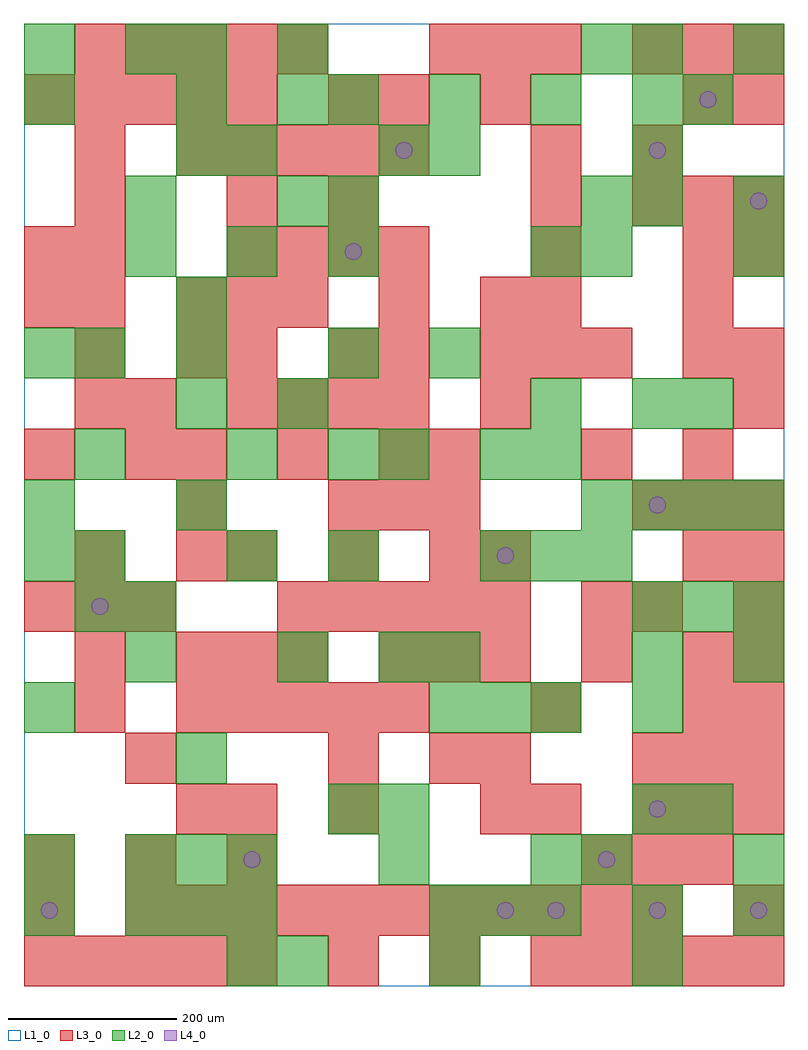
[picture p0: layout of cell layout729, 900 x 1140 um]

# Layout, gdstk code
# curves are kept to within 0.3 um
import gdstk
lib = gdstk.Library(unit=1e-6, precision=1e-09)
def R(c, l, rs):  # rectangles x0, y0, x1, y1
    for r in rs: c.add(gdstk.rectangle(r[:2], r[2:], *l))
def A(c, l, x, y, w, h, nx, ny, dx, dy):  # array of equal rectangles
    R(c, l, [(x+i*dx, y+j*dy, x+i*dx+w, y+j*dy+h) for i in range(nx) for j in range(ny)])
def P(c, l, *ps):  # polygons
    for p in ps: c.add(gdstk.Polygon(p, *l))
L1_0 = (1, 0)
L2_0 = (2, 0)
L3_0 = (3, 0)
L4_0 = (4, 0)

layout729 = lib.new_cell('layout729')
R(layout729, L1_0, [(0,0,900,1140)])
A(layout729, L2_0, 480, 0, 60, 60, 1, 3, 0, 360)
A(layout729, L2_0, 120, 60, 60, 60, 3, 2, 60, 60)
A(layout729, L2_0, 480, 60, 60, 60, 3, 2, 60, 240)
A(layout729, L2_0, 720, 60, 60, 60, 1, 3, 0, 120)
A(layout729, L2_0, 0, 120, 60, 60, 1, 3, 0, 180)
A(layout729, L2_0, 720, 420, 60, 60, 3, 1, 60, 0)
A(layout729, L2_0, 60, 480, 60, 60, 1, 3, 0, 120)
A(layout729, L2_0, 360, 480, 60, 60, 1, 3, 0, 120)
A(layout729, L2_0, 540, 480, 60, 60, 3, 1, 60, 0)
A(layout729, L2_0, 660, 540, 60, 60, 4, 1, 60, 0)
A(layout729, L2_0, 180, 660, 60, 60, 1, 3, 0, 60)
A(layout729, L2_0, 120, 840, 60, 60, 3, 1, 120, 0)
A(layout729, L2_0, 180, 960, 60, 60, 1, 3, 0, 60)
A(layout729, L2_0, 360, 1020, 60, 60, 4, 1, 120, 0)
R(layout729, L2_0, [(240,0,300,60), (300,0,360,60), (720,0,780,60), (0,60,60,120), (840,60,900,120), (420,120,480,180), (600,120,660,180), (660,120,720,180), (840,120,900,180), (360,180,420,240), (420,180,480,240), (780,180,840,240), (180,240,240,300), (120,360,180,420), (300,360,360,420), (420,360,480,420), (720,360,780,420), (840,360,900,420), (60,420,120,480), (120,420,180,480), (240,480,300,540), (0,540,60,600), (180,540,240,600), (240,600,300,660), (420,600,480,660), (540,600,600,660), (600,600,660,660), (300,660,360,720), (600,660,660,720), (720,660,780,720), (780,660,840,720), (0,720,60,780), (600,840,660,900), (660,840,720,900), (840,840,900,900), (120,900,180,960), (300,900,360,960), (360,900,420,960), (660,900,720,960), (720,900,780,960), (840,900,900,960), (240,960,300,1020), (420,960,480,1020), (480,960,540,1020), (720,960,780,1020), (0,1020,60,1080), (300,1020,360,1080), (780,1020,840,1080), (0,1080,60,1140), (120,1080,180,1140), (300,1080,360,1140), (660,1080,720,1140), (720,1080,780,1140), (840,1080,900,1140)])
A(layout729, L3_0, 0, 0, 60, 60, 5, 2, 60, 1020)
A(layout729, L3_0, 360, 0, 60, 60, 3, 1, 120, 0)
A(layout729, L3_0, 660, 0, 60, 60, 4, 1, 60, 0)
A(layout729, L3_0, 120, 60, 60, 60, 11, 1, 60, 0)
A(layout729, L3_0, 0, 120, 60, 60, 3, 1, 120, 0)
A(layout729, L3_0, 660, 120, 60, 60, 3, 1, 60, 0)
A(layout729, L3_0, 720, 180, 60, 60, 3, 2, 60, 60)
A(layout729, L3_0, 180, 300, 60, 60, 5, 2, 60, 660)
A(layout729, L3_0, 840, 300, 60, 60, 1, 4, 0, 60)
A(layout729, L3_0, 180, 360, 60, 60, 3, 2, 60, 420)
A(layout729, L3_0, 420, 360, 60, 60, 3, 1, 60, 0)
A(layout729, L3_0, 780, 360, 60, 60, 1, 4, 0, 120)
A(layout729, L3_0, 0, 420, 60, 60, 3, 1, 60, 0)
A(layout729, L3_0, 300, 420, 60, 60, 5, 1, 60, 0)
A(layout729, L3_0, 240, 480, 60, 60, 3, 1, 120, 0)
A(layout729, L3_0, 360, 540, 60, 60, 3, 1, 60, 0)
A(layout729, L3_0, 720, 540, 60, 60, 3, 2, 60, 360)
A(layout729, L3_0, 180, 600, 60, 60, 3, 1, 120, 0)
A(layout729, L3_0, 60, 660, 60, 60, 1, 6, 0, 60)
A(layout729, L3_0, 240, 660, 60, 60, 4, 2, 60, 180)
A(layout729, L3_0, 540, 720, 60, 60, 3, 1, 60, 0)
A(layout729, L3_0, 600, 780, 60, 60, 1, 4, 0, 60)
A(layout729, L3_0, 60, 1080, 60, 60, 5, 1, 60, 0)
A(layout729, L3_0, 480, 1080, 60, 60, 3, 1, 60, 0)
A(layout729, L3_0, 720, 1080, 60, 60, 3, 1, 60, 0)
R(layout729, L3_0, [(0,60,60,120), (840,60,900,120), (180,180,240,240), (240,180,300,240), (360,180,420,240), (540,180,600,240), (600,180,660,240), (120,240,180,300), (360,240,420,300), (480,240,540,300), (540,240,600,300), (60,300,120,360), (600,300,660,360), (780,300,840,360), (60,360,120,420), (660,360,720,420), (660,420,720,480), (720,420,780,480), (60,480,120,540), (180,480,240,540), (540,480,600,540), (180,540,240,600), (0,600,60,660), (120,600,180,660), (480,600,540,660), (660,600,720,660), (120,660,180,720), (540,660,600,720), (840,660,900,720), (180,720,240,780), (240,720,300,780), (360,720,420,780), (420,720,480,780), (840,720,900,780), (0,780,60,840), (420,780,480,840), (540,780,600,840), (780,780,840,840), (0,840,60,900), (780,840,840,900), (840,840,900,900), (240,900,300,960), (360,900,420,960), (720,960,780,1020), (360,1020,420,1080), (420,1020,480,1080), (540,1020,600,1080), (780,1020,840,1080), (840,1020,900,1080)])
P(layout729, L4_0, [(40,90),(39.239,93.827),(37.071,97.071),(33.827,99.239),(30,100),(26.173,99.239),(22.929,97.071),(20.761,93.827),(20,90),(20.761,86.173),(22.929,82.929),(26.173,80.761),(30,80),(33.827,80.761),(37.071,82.929),(39.239,86.173)],
  [(100,450),(99.239,453.827),(97.071,457.071),(93.827,459.239),(90,460),(86.173,459.239),(82.929,457.071),(80.761,453.827),(80,450),(80.761,446.173),(82.929,442.929),(86.173,440.761),(90,440),(93.827,440.761),(97.071,442.929),(99.239,446.173)],
  [(280,150),(279.239,153.827),(277.071,157.071),(273.827,159.239),(270,160),(266.173,159.239),(262.929,157.071),(260.761,153.827),(260,150),(260.761,146.173),(262.929,142.929),(266.173,140.761),(270,140),(273.827,140.761),(277.071,142.929),(279.239,146.173)],
  [(400,870),(399.239,873.827),(397.071,877.071),(393.827,879.239),(390,880),(386.173,879.239),(382.929,877.071),(380.761,873.827),(380,870),(380.761,866.173),(382.929,862.929),(386.173,860.761),(390,860),(393.827,860.761),(397.071,862.929),(399.239,866.173)],
  [(460,990),(459.239,993.827),(457.071,997.071),(453.827,999.239),(450,1000),(446.173,999.239),(442.929,997.071),(440.761,993.827),(440,990),(440.761,986.173),(442.929,982.929),(446.173,980.761),(450,980),(453.827,980.761),(457.071,982.929),(459.239,986.173)],
  [(580,90),(579.239,93.827),(577.071,97.071),(573.827,99.239),(570,100),(566.173,99.239),(562.929,97.071),(560.761,93.827),(560,90),(560.761,86.173),(562.929,82.929),(566.173,80.761),(570,80),(573.827,80.761),(577.071,82.929),(579.239,86.173)],
  [(580,510),(579.239,513.827),(577.071,517.071),(573.827,519.239),(570,520),(566.173,519.239),(562.929,517.071),(560.761,513.827),(560,510),(560.761,506.173),(562.929,502.929),(566.173,500.761),(570,500),(573.827,500.761),(577.071,502.929),(579.239,506.173)],
  [(640,90),(639.239,93.827),(637.071,97.071),(633.827,99.239),(630,100),(626.173,99.239),(622.929,97.071),(620.761,93.827),(620,90),(620.761,86.173),(622.929,82.929),(626.173,80.761),(630,80),(633.827,80.761),(637.071,82.929),(639.239,86.173)],
  [(700,150),(699.239,153.827),(697.071,157.071),(693.827,159.239),(690,160),(686.173,159.239),(682.929,157.071),(680.761,153.827),(680,150),(680.761,146.173),(682.929,142.929),(686.173,140.761),(690,140),(693.827,140.761),(697.071,142.929),(699.239,146.173)],
  [(760,90),(759.239,93.827),(757.071,97.071),(753.827,99.239),(750,100),(746.173,99.239),(742.929,97.071),(740.761,93.827),(740,90),(740.761,86.173),(742.929,82.929),(746.173,80.761),(750,80),(753.827,80.761),(757.071,82.929),(759.239,86.173)],
  [(760,210),(759.239,213.827),(757.071,217.071),(753.827,219.239),(750,220),(746.173,219.239),(742.929,217.071),(740.761,213.827),(740,210),(740.761,206.173),(742.929,202.929),(746.173,200.761),(750,200),(753.827,200.761),(757.071,202.929),(759.239,206.173)],
  [(760,570),(759.239,573.827),(757.071,577.071),(753.827,579.239),(750,580),(746.173,579.239),(742.929,577.071),(740.761,573.827),(740,570),(740.761,566.173),(742.929,562.929),(746.173,560.761),(750,560),(753.827,560.761),(757.071,562.929),(759.239,566.173)],
  [(760,990),(759.239,993.827),(757.071,997.071),(753.827,999.239),(750,1000),(746.173,999.239),(742.929,997.071),(740.761,993.827),(740,990),(740.761,986.173),(742.929,982.929),(746.173,980.761),(750,980),(753.827,980.761),(757.071,982.929),(759.239,986.173)],
  [(820,1050),(819.239,1053.827),(817.071,1057.071),(813.827,1059.239),(810,1060),(806.173,1059.239),(802.929,1057.071),(800.761,1053.827),(800,1050),(800.761,1046.173),(802.929,1042.929),(806.173,1040.761),(810,1040),(813.827,1040.761),(817.071,1042.929),(819.239,1046.173)],
  [(880,90),(879.239,93.827),(877.071,97.071),(873.827,99.239),(870,100),(866.173,99.239),(862.929,97.071),(860.761,93.827),(860,90),(860.761,86.173),(862.929,82.929),(866.173,80.761),(870,80),(873.827,80.761),(877.071,82.929),(879.239,86.173)],
  [(880,930),(879.239,933.827),(877.071,937.071),(873.827,939.239),(870,940),(866.173,939.239),(862.929,937.071),(860.761,933.827),(860,930),(860.761,926.173),(862.929,922.929),(866.173,920.761),(870,920),(873.827,920.761),(877.071,922.929),(879.239,926.173)])

lib.write_gds('layout729.gds')
